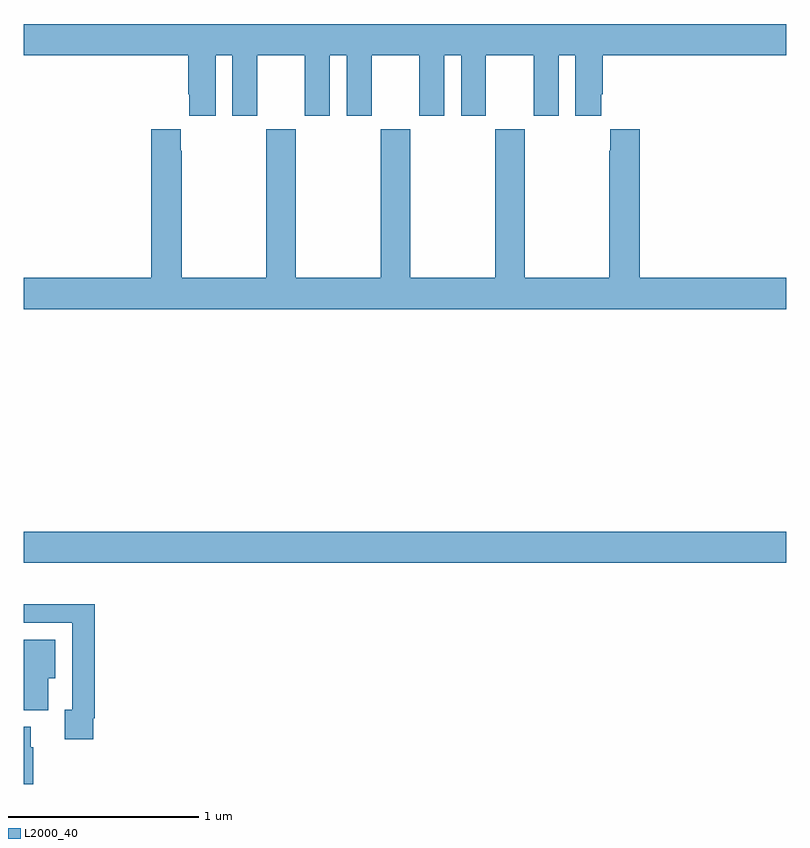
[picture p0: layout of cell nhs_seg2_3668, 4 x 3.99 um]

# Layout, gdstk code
import gdstk
lib = gdstk.Library(unit=1e-6, precision=1e-09)
def R(c, l, rs):  # rectangles x0, y0, x1, y1
    for r in rs: c.add(gdstk.rectangle(r[:2], r[2:], *l))
def P(c, l, *ps):  # polygons
    for p in ps: c.add(gdstk.Polygon(p, *l))
L2000_40 = (2000, 40)

nhs_seg2_3668 = lib.new_cell('nhs_seg2_3668')
R(nhs_seg2_3668, L2000_40, [(303,656.96,307,657.124)])
P(nhs_seg2_3668, L2000_40, [(304.006,659.624),(304.094,659.624),(304.094,659.307),(304.225,659.307),(304.225,659.624),(304.475,659.624),(304.475,659.307),(304.606,659.307),(304.606,659.624),(304.694,659.624),(304.694,659.307),(304.825,659.307),(304.825,659.624),(305.075,659.624),(305.075,659.307),(305.206,659.307),(305.206,659.624),(305.294,659.624),(305.294,659.307),(305.425,659.307),(305.425,659.624),(305.675,659.624),(305.675,659.307),(305.806,659.307),(305.806,659.624),(305.894,659.624),(305.894,659.307),(306.031,659.307),(306.031,659.419),(306.038,659.419),(306.038,659.624),(307,659.624),(307,659.788),(303,659.788),(303,659.624),(303.863,659.624),(303.863,659.419),(303.869,659.419),(303.869,659.307),(304.006,659.307)],
  [(307,658.456),(306.233,658.456),(306.233,659.236),(306.077,659.236),(306.077,659.123),(306.073,659.123),(306.073,658.456),(305.628,658.456),(305.628,659.236),(305.473,659.236),(305.473,658.456),(305.028,658.456),(305.028,659.236),(304.873,659.236),(304.873,658.456),(304.428,658.456),(304.428,659.236),(304.273,659.236),(304.273,658.456),(303.828,658.456),(303.828,659.123),(303.823,659.123),(303.823,659.236),(303.668,659.236),(303.668,658.456),(303,658.456),(303,658.292),(307,658.292)],
  [(303.364,656.146),(303.371,656.146),(303.371,656.744),(303.079,656.744),(303.079,656.742),(303,656.742),(303,656.646),(303.255,656.646),(303.255,656.19),(303.215,656.19),(303.215,656.034),(303.364,656.034)],
  [(303.127,656.354),(303.166,656.354),(303.166,656.557),(303,656.557),(303,656.186),(303.127,656.186)],
  [(303.05,655.994),(303.037,655.994),(303.037,656.101),(303,656.101),(303,655.8),(303.05,655.8)])

lib.write_gds('nhs_seg2_3668.gds')
